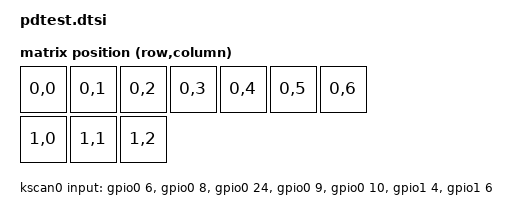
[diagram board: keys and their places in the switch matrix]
/*
 * Copyright (c) 2020 The ZMK Contributors
 *
 * SPDX-License-Identifier: MIT
 */

#include <dt-bindings/zmk/matrix_transform.h>

/ {

	chosen {
		zmk,kscan = &kscan;
		zmk,matrix_transform = &default_transform;
	};

	default_transform: keymap_transform_0 {
		compatible = "zmk,matrix-transform";
		columns = <7>;
		rows = <2>;
		map = <
		RC(0,0)  RC(0,1) RC(0,2)  RC(0,3)  RC(0,4) RC(0,5) RC(0,6) 
    RC(1,0)  RC(1,1) RC(1,2)
		>;
	};

	kscan: kscan {
		compatible = "zmk,kscan-composite";
		label = "KSCAN";
		rows = <2>;
		columns = <7>;

		normal_keys {
			kscan = <&kscan0>;
		};

		touch_keys: touch_keys {
			kscan = <&kscan1>;
      row-offset = <1>;
			// column-offset = <2>;
		};
	};

	kscan0: kscan0 {
		compatible = "zmk,kscan-gpio-direct";
		label = "KEYBOARD-MATRIX";
		input-gpios
		= <&gpio0  6 (GPIO_ACTIVE_LOW | GPIO_PULL_UP)>
		, <&gpio0  8 (GPIO_ACTIVE_LOW | GPIO_PULL_UP)>
		, <&gpio0 24 (GPIO_ACTIVE_LOW | GPIO_PULL_UP)>
		, <&gpio0  9 (GPIO_ACTIVE_LOW | GPIO_PULL_UP)>
		, <&gpio0 10 (GPIO_ACTIVE_LOW | GPIO_PULL_UP)>
		, <&gpio1  4 (GPIO_ACTIVE_LOW | GPIO_PULL_UP)>
		, <&gpio1  6 (GPIO_ACTIVE_LOW | GPIO_PULL_UP)>
		;
	};

	sliders {
		compatible = "zmk,keymap-sliders";
		sliders = <&kscan1>;
	};

};

  &i2c0 {
	  compatible = "nordic,nrf-twi";
	  sda-pin = <45>;
  	scl-pin = <2>;
    status = "okay";

	  kscan1: kscan1@28 {
		  compatible = "zmk,kscan-cap1203";
      status = "okay";
      reg = <0x28>;
		  label = "SLIDER";
		  int-gpios
		  = <&gpio1  11 (GPIO_ACTIVE_LOW | GPIO_PULL_UP)>;
	  };
  };
